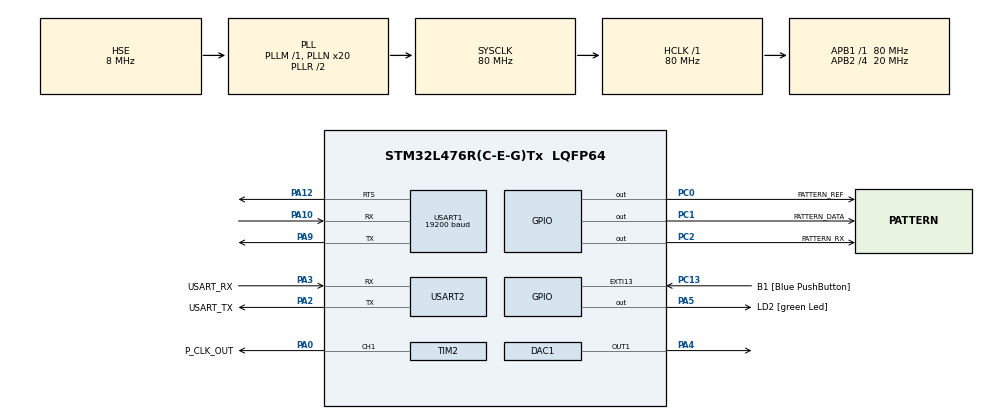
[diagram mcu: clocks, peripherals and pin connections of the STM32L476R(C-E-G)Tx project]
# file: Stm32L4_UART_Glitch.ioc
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DAC1.DAC_Trigger-DAC_OUT1=DAC_TRIGGER_NONE
Dma.Request0=TIM2_UP
Dma.Request1=TIM2_CH1
Dma.Request2=USART1_RX
Dma.TIM2_CH1.1.Direction=DMA_MEMORY_TO_PERIPH
Dma.TIM2_CH1.1.Instance=DMA1_Channel5
Dma.TIM2_CH1.1.MemDataAlignment=DMA_MDATAALIGN_HALFWORD
Dma.TIM2_CH1.1.MemInc=DMA_MINC_ENABLE
Dma.TIM2_CH1.1.Mode=DMA_NORMAL
Dma.TIM2_CH1.1.PeriphDataAlignment=DMA_PDATAALIGN_HALFWORD
Dma.TIM2_CH1.1.PeriphInc=DMA_PINC_DISABLE
Dma.TIM2_CH1.1.Priority=DMA_PRIORITY_LOW
Dma.TIM2_UP.0.Direction=DMA_MEMORY_TO_PERIPH
Dma.TIM2_UP.0.Instance=DMA1_Channel2
Dma.TIM2_UP.0.MemDataAlignment=DMA_MDATAALIGN_WORD
Dma.TIM2_UP.0.MemInc=DMA_MINC_ENABLE
Dma.TIM2_UP.0.Mode=DMA_NORMAL
Dma.TIM2_UP.0.PeriphDataAlignment=DMA_PDATAALIGN_WORD
Dma.TIM2_UP.0.PeriphInc=DMA_PINC_DISABLE
Dma.TIM2_UP.0.Priority=DMA_PRIORITY_LOW
Dma.USART1_RX.2.Direction=DMA_PERIPH_TO_MEMORY
Dma.USART1_RX.2.Instance=DMA2_Channel7
Dma.USART1_RX.2.MemDataAlignment=DMA_MDATAALIGN_WORD
Dma.USART1_RX.2.MemInc=DMA_MINC_ENABLE
Dma.USART1_RX.2.Mode=DMA_NORMAL
Dma.USART1_RX.2.PeriphDataAlignment=DMA_PDATAALIGN_WORD
Dma.USART1_RX.2.PeriphInc=DMA_PINC_DISABLE
Dma.USART1_RX.2.Priority=DMA_PRIORITY_LOW
Mcu.Family=STM32L4
Mcu.Name=STM32L476R(C-E-G)Tx
Mcu.Package=LQFP64
Mcu.UserConstants=TIM2_PERIOD,(20-1)
NVIC.DMA1_Channel2_IRQn=true\:0\:0\:false\:false\:true\:false\:true\:true
NVIC.DMA1_Channel5_IRQn=true\:0\:0\:false\:false\:true\:false\:true\:true
NVIC.DMA2_Channel7_IRQn=true\:0\:0\:false\:false\:true\:false\:true\:true
NVIC.EXTI15_10_IRQn=true\:0\:0\:false\:false\:true\:true\:true\:true
NVIC.PriorityGroup=NVIC_PRIORITYGROUP_4
PA0.GPIO_Label=P_CLK_OUT
PA0.Signal=S_TIM2_CH1
PA10.Mode=Asynchronous
PA10.Signal=USART1_RX
PA12.Mode=RTS_Only
PA12.Signal=USART1_RTS
PA13\ (JTMS-SWDIO).GPIO_Label=TMS
PA13\ (JTMS-SWDIO).Mode=Serial_Wire
PA13\ (JTMS-SWDIO).Signal=SYS_JTMS-SWDIO
PA14\ (JTCK-SWCLK).GPIO_Label=TCK
PA14\ (JTCK-SWCLK).Mode=Serial_Wire
PA14\ (JTCK-SWCLK).Signal=SYS_JTCK-SWCLK
PA2.GPIO_Label=USART_TX
PA2.GPIO_Mode=GPIO_MODE_AF_PP
PA2.GPIO_PuPd=GPIO_NOPULL
PA2.GPIO_Speed=GPIO_SPEED_FREQ_VERY_HIGH
PA2.Mode=Asynchronous
PA2.Signal=USART2_TX
PA3.GPIO_Label=USART_RX
PA3.GPIO_Mode=GPIO_MODE_AF_PP
PA3.GPIO_PuPd=GPIO_NOPULL
PA3.GPIO_Speed=GPIO_SPEED_FREQ_VERY_HIGH
PA3.Mode=Asynchronous
PA3.Signal=USART2_RX
PA4.Signal=COMP_DAC11_group
PA5.GPIO_Label=LD2 [green Led]
PA5.GPIO_ModeDefaultOutputPP=GPIO_MODE_OUTPUT_PP
PA5.GPIO_PuPd=GPIO_NOPULL
PA5.GPIO_Speed=GPIO_SPEED_FREQ_HIGH
PA5.Signal=GPIO_Output
PA9.Mode=Asynchronous
PA9.Signal=USART1_TX
PB3\ (JTDO-TRACESWO).GPIO_Label=SWO
PB3\ (JTDO-TRACESWO).Signal=SYS_JTDO-SWO
PC0.GPIO_Label=PATTERN_REF
PC0.GPIO_Speed=GPIO_SPEED_FREQ_HIGH
PC0.PinState=GPIO_PIN_SET
PC0.Signal=GPIO_Output
PC1.GPIO_Label=PATTERN_DATA
PC1.GPIO_Speed=GPIO_SPEED_FREQ_HIGH
PC1.PinState=GPIO_PIN_SET
PC1.Signal=GPIO_Output
PC13.GPIO_Label=B1 [Blue PushButton]
PC13.GPIO_ModeDefaultEXTI=GPIO_MODE_IT_FALLING
PC13.GPIO_PuPd=GPIO_NOPULL
PC13.Signal=GPXTI13
PC14-OSC32_IN\ (PC14).Mode=LSE-External-Oscillator
PC14-OSC32_IN\ (PC14).Signal=RCC_OSC32_IN
PC15-OSC32_OUT\ (PC15).Mode=LSE-External-Oscillator
PC15-OSC32_OUT\ (PC15).Signal=RCC_OSC32_OUT
PC2.GPIO_Label=PATTERN_RX
PC2.GPIO_Speed=GPIO_SPEED_FREQ_HIGH
PC2.PinState=GPIO_PIN_SET
PC2.Signal=GPIO_Output
PH0-OSC_IN\ (PH0).Mode=HSE-External-Clock-Source
PH0-OSC_IN\ (PH0).Signal=RCC_OSC_IN
PH1-OSC_OUT\ (PH1).Signal=RCC_OSC_OUT
ProjectManager.HeapSize=0x200
ProjectManager.StackSize=0x400
ProjectManager.TargetToolchain=STM32CubeIDE
RCC.ADCFreq_Value=32000000
RCC.AHBFreq_Value=80000000
RCC.APB1Freq_Value=80000000
RCC.APB1TimFreq_Value=80000000
RCC.APB2CLKDivider=RCC_HCLK_DIV4
RCC.APB2Freq_Value=20000000
RCC.APB2TimFreq_Value=40000000
RCC.CortexFreq_Value=80000000
RCC.HCLKFreq_Value=80000000
RCC.HSE_VALUE=8000000
RCC.HSI_VALUE=16000000
RCC.MSI_VALUE=4000000
RCC.PLLN=20
RCC.PLLSourceVirtual=RCC_PLLSOURCE_HSE
RCC.PREFETCH_ENABLE=1
RCC.SYSCLKFreq_VALUE=80000000
RCC.SYSCLKSource=RCC_SYSCLKSOURCE_PLLCLK
RCC.USBFreq_Value=32000000
RCC.VCOOutputFreq_Value=160000000
SH.COMP_DAC11_group.0=DAC1_OUT1,DAC_OUT1
SH.S_TIM2_CH1.0=TIM2_CH1,Output Compare1 CH1
TIM2.AutoReloadPreload=TIM_AUTORELOAD_PRELOAD_ENABLE
TIM2.Channel-Output\ Compare1\ CH1=TIM_CHANNEL_1
TIM2.OCMode_1=TIM_OCMODE_TOGGLE
TIM2.Period=TIM2_PERIOD
TIM2.TIM_MasterOutputTrigger=TIM_TRGO_UPDATE
USART1.BaudRate=19200
USART1.OneBitSampling=UART_ONE_BIT_SAMPLE_DISABLE
USART1.OverSampling=UART_OVERSAMPLING_16
USART1.Parity=PARITY_EVEN
USART1.VirtualMode-Asynchronous=VM_ASYNC
USART1.WordLength=WORDLENGTH_9B
USART2.VirtualMode-Asynchronous=VM_ASYNC
VP_RNG_VS_RNG.Mode=RNG_Activate
VP_TIM2_VS_ClockSourceINT.Mode=Internal
board=NUCLEO-L476RG

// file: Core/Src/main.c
/* USER CODE BEGIN Header */
/**
  ******************************************************************************
  * @file           : main.c
  * @brief          : Main program body
  ******************************************************************************
  * @attention
  *
  * Copyright (c) 2023 STMicroelectronics.
  * All rights reserved.
  *
  * This software is licensed under terms that can be found in the LICENSE file
  * in the root directory of this software component.
  * If no LICENSE file comes with this software, it is provided AS-IS.
  *
  ******************************************************************************
  */
/* USER CODE END Header */
#include "main.h"
#include "dac.h"
#include "dma.h"
#include "rng.h"
#include "tim.h"
#include "usart.h"
#include "gpio.h"

/* USER CODE BEGIN Includes */
#include <stdio.h>
#include <string.h>
#include <stdbool.h>

/* USER CODE END Includes */

/* USER CODE BEGIN PM */
#define SW_RANDOMIZED_GLITCH_POS 0
#define SW_SWEEP_GLITCH_POS 1
#define SW_SWEEP_START_AT_STARTBIT 1
#define SW_VERBOSE 0
#define SW_STOP_BITS 1

/* USER CODE END PM */

/* USER CODE BEGIN PV */

#define SET_REF_PIN (PATTERN_REF_Pin)
#define CLR_REF_PIN (PATTERN_REF_Pin << 16)
#define SET_DATA_PIN (PATTERN_DATA_Pin)
#define CLR_DATA_PIN ((PATTERN_DATA_Pin) << 16)

#define SET_RX_PIN (PATTERN_RX_Pin)
#define CLR_RX_PIN (PATTERN_RX_Pin << 16)

#define DAC_MAX ((1 << 12) - 1)

#define DATA_PIN_MASK (0xffffffff ^ SET_DATA_PIN ^ CLR_DATA_PIN)

#define BAUD_RATE 19200
#define TIMER_FREQUENCY 4000000
#define BIT_WIDTH ((TIMER_FREQUENCY + BAUD_RATE /2) / BAUD_RATE)

#define GLITCH_WIDTH (BIT_WIDTH/16)

#define  PATTERN_BUFFER_SIZE ((( BIT_WIDTH * 11) * 2) + BIT_WIDTH * 5)
#if SW_SWEEP_START_AT_STARTBIT
#define STATISTIC_COUNT PATTERN_BUFFER_SIZE
#else
#define STATISTIC_COUNT (BIT_WIDTH + BIT_WIDTH / 5)
#endif

static uint32_t patternBuffer[PATTERN_BUFFER_SIZE];
static uint16_t dac_buffer[PATTERN_BUFFER_SIZE];
static uint32_t glitchPosStatistic[STATISTIC_COUNT];
static uint32_t glitchPosMissing[STATISTIC_COUNT];
uint16_t glitchPos = 0;
uint16_t glitchWidth = GLITCH_WIDTH;
static uint32_t set_rx_pin[1];
static uint8_t rxBuffer[3];
static uint8_t txBuffer[3] = {0xAA, 0xAA, 0xAA};
extern DMA_HandleTypeDef hdma_tim2_up;
extern DMA_HandleTypeDef hdma_tim2_ch1;
extern DMA_HandleTypeDef hdma_usart1_rx;
enum Parity
{
   none, odd, even
};
enum Parity parity = even;
/* USER CODE END PV */

void SystemClock_Config(void);

void ReceiveExamine();

void CheckTerminal();

void PrepareNextGlitch();

bool WaitForPatternFinish();

void StartPattern();

/* USER CODE BEGIN 0 */
const char transmitData[] = "\x33";
int validCounter = 0;
int errorCounter = 0;
uint32_t glitchStart = 0;
uint32_t glitchEnd = 0;
int sweep = 0;
size_t byteWidth;
uint32_t bitPositions[32];
//---------------------------------------------------------------------------
void CalculateUart(uint32_t maskch1, uint32_t maskch2)
{
   size_t bitCount = (parity != none) ? 11 : 10;
   size_t y_val = 0;
   byteWidth = bitCount * TIMER_FREQUENCY / (BAUD_RATE);
   int y = 0;
   uint32_t ch1;
   uint32_t ch2;
   for (int n = 0; n < PATTERN_BUFFER_SIZE; n++)
   {
      y_val += bitCount;
      if (y_val >= byteWidth)
      {
         y++;
         y_val -= byteWidth;
         bitPositions[y] = n;
      }
      if (y < 32)
      {
         ch1 = ((maskch1) & (1 << y)) != 0 ? SET_DATA_PIN : CLR_DATA_PIN;
         ch2 = ((maskch2) & (1 << y)) != 0 ? SET_REF_PIN : CLR_REF_PIN;
      }
      patternBuffer[n] = ch1 | ch2;
   }
}
//---------------------------------------------------------------------------
void CalculatePattern(uint16_t glitchPos, uint16_t glitchWidth, bool glitchLevel)
{
   const char *read = transmitData;
   uint8_t data = *read;
   uint8_t parityBit = data;
   parityBit = (parityBit >> 4) ^ parityBit;
   parityBit = (parityBit >> 2) ^ parityBit;
   parityBit = ((parityBit >> 1) ^ parityBit) & 1;
   uint32_t ref = (1 << 12) - 1;
   uint32_t mask = 0xffffffff;
   switch (parity)
   {

      case none:
         ref = (1 << 11) - 1;
         break;
      case odd:
         ref = (1 << 12) - 1;
         mask = (mask << 1) + (parityBit ^ 1);
         break;
      case even:
         ref = (1 << 11) - 1;
         mask = (mask << 1) + parityBit;
         break;
   }
   mask = (mask << 8) + data;
   mask = (mask << 1) + 0;
   mask = (mask << 1) + 1;
   CalculateUart(mask, ref << 1);

   if (glitchWidth > 0)
   {
      uint32_t index = glitchStart + glitchPos;
      for (int n = 0; n < glitchWidth; n++)
      {
         patternBuffer[index + n] &= DATA_PIN_MASK;
         patternBuffer[index + n] |= (glitchLevel ? SET_DATA_PIN : CLR_DATA_PIN);
      }
   }
   uint32_t max = 1;
   for (int n = 0; n < STATISTIC_COUNT; n++)
   {
      if (glitchPosStatistic[n] + glitchPosMissing[n] > max)
      {
         max = glitchPosStatistic[n] + glitchPosMissing[n];
      }
   }
   for (int n = 0; n < STATISTIC_COUNT; n++)
   {
      #if SW_SWEEP_START_AT_STARTBIT
      uint32_t dacValue = ((glitchPosStatistic[n] + glitchPosMissing[n]) * DAC_MAX) / max;
      if (dacValue > 0)
      {
         dac_buffer[n] = dacValue;
      }
      patternBuffer[n] |= (dacValue > 0) ? SET_RX_PIN : CLR_RX_PIN;
      #else
      dac_buffer[glitchStart + n] = (glitchPosStatistic[n] * DAC_MAX) / max;
      #endif
   }

   // DMA, circular memory-to-peripheral mode, full word (32 bit) transfer
//   HAL_TIM_Base_DeInit(&htim2);
//   HAL_TIM_OC_DeInit(&htim2);
   HAL_TIM_Base_Stop(&htim2);
   HAL_TIM_Base_DeInit(&htim2);
   HAL_TIM_OC_DeInit(&htim2);
   MX_DMA_Init();
   MX_TIM2_Init();
   while (__HAL_UART_GET_FLAG(&huart1, UART_FLAG_RXNE))
   {
      huart1.Instance->RDR;
   }
   huart1.Instance->RQR = USART_RQR_RXFRQ;
}
//---------------------------------------------------------------------------
//---------------------------------------------------------------------------
void StartPattern()
{
   HAL_StatusTypeDef error0 = HAL_DMA_Start(&hdma_tim2_up, (uint32_t) patternBuffer, (uint32_t) &(GPIOC->BSRR), PATTERN_BUFFER_SIZE);
   HAL_StatusTypeDef error1 = HAL_DMA_Start(&hdma_tim2_ch1, (uint32_t) dac_buffer, (uint32_t) &(hdac1.Instance->DHR12R1), PATTERN_BUFFER_SIZE);
   HAL_StatusTypeDef error2 = HAL_DMA_Start(&hdma_usart1_rx, (uint32_t) set_rx_pin, (uint32_t) &(GPIOC->BSRR), 1);

   if (error0 == HAL_OK && error1 == HAL_OK && error2 == HAL_OK)
   {
      HAL_TIM_OC_Start(&htim2, TIM_CHANNEL_1);
      HAL_TIM_Base_Start(&htim2);
   }
   else
   {
      printf("error: %u %u %u\n", error0, error1, error2);
   }
}
//---------------------------------------------------------------------------
bool WaitForPatternFinish()
{
   HAL_StatusTypeDef error0 = HAL_DMA_PollForTransfer(&hdma_tim2_ch1, HAL_DMA_FULL_TRANSFER, 100);
   HAL_StatusTypeDef error1 = HAL_DMA_PollForTransfer(&hdma_tim2_up, HAL_DMA_FULL_TRANSFER, 100);
   HAL_StatusTypeDef error2 = HAL_DMA_Abort(&hdma_usart1_rx);
   bool success = (error0 == HAL_OK) && (error1 == HAL_OK) && (error2 == HAL_OK);
   if (!success)
   {
      printf("WaitForPatternFinish error: %u %u %u\n", error0, error1, error2);
   }
   return success;
}
//---------------------------------------------------------------------------
void PrepareNextGlitch()
{
   HAL_TIM_Base_Stop(&htim2);
   #if SW_RANDOMIZED_GLITCH_POS
   uint32_t nr;
      HAL_RNG_GenerateRandomNumber(&hrng, &nr);
      glitchPos = nr & 0x1ff;
   #endif
#if SW_SWEEP_GLITCH_POS
   glitchPos += 1;
   if (glitchStart + glitchPos >= glitchEnd)
   {
      glitchPos = 0;
      sweep++;
      printf("sweep: %d\n", sweep);
   }
#endif
}
//---------------------------------------------------------------------------
void CheckTerminal()
{
   int rxTerminalCount = 0;
   while (__HAL_UART_GET_FLAG(&huart2, UART_FLAG_RXNE))
   {
      rxTerminalCount++;
      huart2.Instance->RDR;
   }
   if (rxTerminalCount)
   {
      uint32_t bitindex = 0;
      while (bitPositions[bitindex] < glitchStart)
      {
         bitindex++;
      }
      for (uint32_t n = glitchStart; n < glitchEnd; n++)
      {
         if (bitPositions[bitindex] == n)
         {
            printf("[%u]->%u\n", (unsigned int) n, (unsigned int) bitindex);
            bitindex++;
         }
         printf("[%3u]: %4u, %4u\n", (unsigned int) n, (unsigned int) glitchPosStatistic[n], (unsigned int) glitchPosMissing[n]);
      }
   }
}
//---------------------------------------------------------------------------
void ReceiveExamine()
{
   uint16_t rxEd = 0;
   HAL_StatusTypeDef uartExReceiveToIdle = HAL_UARTEx_ReceiveToIdle(&huart1, rxBuffer, sizeof(rxBuffer), &rxEd, 10);
   HAL_GPIO_WritePin(LD2_GPIO_Port, LD2_Pin, GPIO_PIN_RESET);
   if (rxEd || uartExReceiveToIdle != HAL_OK)
   {
      validCounter++;
      rxBuffer[rxEd] = 0;
      int invalid = rxEd != strlen(transmitData);
      if (!invalid)
      {
         invalid = strcmp(rxBuffer, transmitData) != 0;
      }
      if (invalid)
      {
         HAL_GPIO_WritePin(LD2_GPIO_Port, LD2_Pin, GPIO_PIN_SET);
         errorCounter++;
         #if SW_VERBOSE
         printf("[%5d/%5d] rx:%d", errorCounter, validCounter, rxEd);
         for (size_t index = 0; index < rxEd; index++)
         {
            printf(" %02x", rxBuffer[index]);
         }
         printf(", pos, width: %u, %u\n", glitchPos, glitchWidth);
         #endif
         #if SW_BUTTON_WAIT
         while (HAL_GPIO_ReadPin(B1_GPIO_Port, B1_Pin))
         {
         }
         #endif
         if (glitchPos < STATISTIC_COUNT)
         {
            if (rxEd)
            {
               glitchPosStatistic[glitchStart + glitchPos] += 1;
            }
            else
            {
               glitchPosMissing[glitchStart + glitchPos] += 1;
            }
         }
      }
   }
   txBuffer[0] = rxBuffer[0];
   txBuffer[1] = rxEd;
   txBuffer[2] = '\n';
}

/* USER CODE END 0 */

int main(void)
{

   /* MCU Configuration--------------------------------------------------------*/

   /* Reset of all peripherals, Initializes the Flash interface and the Systick. */
   HAL_Init();

   /* Configure the system clock */
   SystemClock_Config();

   /* Initialize all configured peripherals */
   MX_GPIO_Init();
   MX_DMA_Init();
   MX_USART2_UART_Init();
   MX_TIM2_Init();
   MX_USART1_UART_Init();
   MX_RNG_Init();
   MX_DAC1_Init();
   /* USER CODE BEGIN 2 */
//   __disable_irq();
   HAL_DAC_Start(&hdac1, DAC_CHANNEL_1);
   glitchStart = 11 * BIT_WIDTH - 10;
   glitchEnd = 13 * BIT_WIDTH + 10;
   HAL_DMA_DeInit(&hdma_usart1_rx);
   hdma_usart1_rx.Init.Direction = DMA_MEMORY_TO_PERIPH;
   HAL_DMA_Init(&hdma_usart1_rx);
   ATOMIC_SET_BIT(huart1.Instance->CR3, USART_CR3_DMAR);

   memset(dac_buffer, 0, sizeof(dac_buffer));
   set_rx_pin[0] = 0;

   dac_buffer[0] = 4095;
   dac_buffer[1] = 4095;
   dac_buffer[2] = 4095;
   dac_buffer[3] = 4095;
   dac_buffer[4] = 4095;
   dac_buffer[5] = 4095;
   dac_buffer[6] = 4095;
   dac_buffer[7] = 4095;
   dac_buffer[8] = 4095;
   dac_buffer[9] = 4095;
   dac_buffer[10] = 4095;
   dac_buffer[11] = 4095;

   TIM2->DIER |= TIM_DIER_UDE;   // set UDE bit (update dma request enable)
   TIM2->DIER |= TIM_DIER_CC1DE;   // set UDE bit (update dma request enable)

   /* USER CODE END 2 */

   /* Infinite loop */
   /* USER CODE BEGIN WHILE */
   HAL_DAC_SetValue(&hdac1, DAC_CHANNEL_1, DAC_ALIGN_12B_R, 0);
   while (1)
   {
      /* USER CODE END WHILE */

      /* USER CODE BEGIN 3 */
      #if SW_STOP_BITS
      __HAL_UART_DISABLE(&huart1);
      MODIFY_REG(huart1.Instance->CR2, USART_CR2_STOP, UART_STOPBITS_0_5);
      __HAL_UART_ENABLE(&huart1);
      #endif
      CalculatePattern(glitchPos, glitchWidth, false);
      StartPattern();
      ReceiveExamine();
      CheckTerminal();
      bool wait = WaitForPatternFinish();
      if (wait)
      {
         PrepareNextGlitch();
      }
      else
      {
      }
      #if SW_STOP_BITS
      __HAL_UART_DISABLE(&huart1);
      MODIFY_REG(huart1.Instance->CR2, USART_CR2_STOP, UART_STOPBITS_2);
      __HAL_UART_ENABLE(&huart1);
      #endif
      HAL_StatusTypeDef uartTransmit = HAL_UART_Transmit(&huart1, txBuffer, sizeof(txBuffer), 10);
   }
   /* USER CODE END 3 */
}

void SystemClock_Config(void)
{
   RCC_OscInitTypeDef RCC_OscInitStruct = {0};
   RCC_ClkInitTypeDef RCC_ClkInitStruct = {0};

   /** Configure the main internal regulator output voltage
   */
   if (HAL_PWREx_ControlVoltageScaling(PWR_REGULATOR_VOLTAGE_SCALE1) != HAL_OK)
   {
      Error_Handler();
   }

   /** Initializes the RCC Oscillators according to the specified parameters
   * in the RCC_OscInitTypeDef structure.
   */
   RCC_OscInitStruct.OscillatorType = RCC_OSCILLATORTYPE_HSE;
   RCC_OscInitStruct.HSEState = RCC_HSE_BYPASS;
   RCC_OscInitStruct.PLL.PLLState = RCC_PLL_ON;
   RCC_OscInitStruct.PLL.PLLSource = RCC_PLLSOURCE_HSE;
   RCC_OscInitStruct.PLL.PLLM = 1;
   RCC_OscInitStruct.PLL.PLLN = 20;
   RCC_OscInitStruct.PLL.PLLP = RCC_PLLP_DIV7;
   RCC_OscInitStruct.PLL.PLLQ = RCC_PLLQ_DIV2;
   RCC_OscInitStruct.PLL.PLLR = RCC_PLLR_DIV2;
   if (HAL_RCC_OscConfig(&RCC_OscInitStruct) != HAL_OK)
   {
      Error_Handler();
   }

   /** Initializes the CPU, AHB and APB buses clocks
   */
   RCC_ClkInitStruct.ClockType = RCC_CLOCKTYPE_HCLK | RCC_CLOCKTYPE_SYSCLK
                                 | RCC_CLOCKTYPE_PCLK1 | RCC_CLOCKTYPE_PCLK2;
   RCC_ClkInitStruct.SYSCLKSource = RCC_SYSCLKSOURCE_PLLCLK;
   RCC_ClkInitStruct.AHBCLKDivider = RCC_SYSCLK_DIV1;
   RCC_ClkInitStruct.APB1CLKDivider = RCC_HCLK_DIV1;
   RCC_ClkInitStruct.APB2CLKDivider = RCC_HCLK_DIV4;

   if (HAL_RCC_ClockConfig(&RCC_ClkInitStruct, FLASH_LATENCY_4) != HAL_OK)
   {
      Error_Handler();
   }
}

/* USER CODE BEGIN 4 */
int _write(int file, char *ptr, int len)
{
   (void) file;
   HAL_UART_Transmit(&huart2, (uint8_t *) ptr, len, HAL_MAX_DELAY);
   return len;
}

/* USER CODE END 4 */

void Error_Handler(void)
{
   __disable_irq();
   while (1)
   {
   }
}
